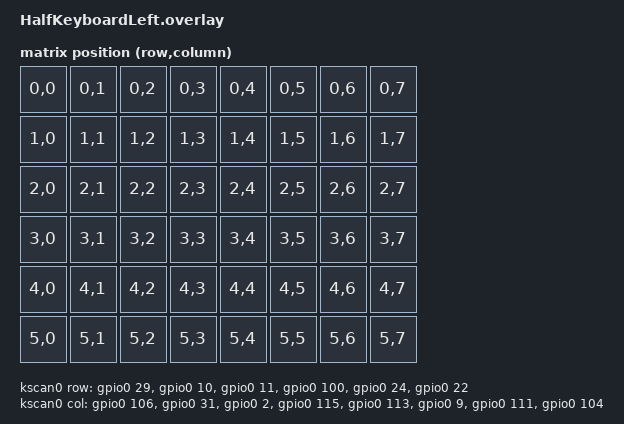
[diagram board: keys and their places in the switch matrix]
#include <dt-bindings/zmk/matrix_transform.h>
#include <physical_layouts.dtsi>

/ {
    chosen {
        zmk,physical-layout = &default_layout;
    };

    default_layout: default_layout {
        compatible = "zmk,physical-layout";
        display-name = "HalfKeyboardLeft Layout";
        transform = <&default_transform>;
        kscan = <&kscan0>;
        keys
            = <&key_physical_attrs 19 19   0   0 0 0 0>
            , <&key_physical_attrs 19 19  24   0 0 0 0>
            , <&key_physical_attrs 19 19   0  24 0 0 0>
            , <&key_physical_attrs 19 19  24  24 0 0 0>
            , <&key_physical_attrs 19 19   0  48 0 0 0>
            , <&key_physical_attrs 19 19  24  48 0 0 0>
            , <&key_physical_attrs 19 19   0  72 0 0 0>
            , <&key_physical_attrs 19 19  24  72 0 0 0>
            , <&key_physical_attrs 19 19   0  96 0 0 0>
            , <&key_physical_attrs 19 19  24  96 0 0 0>
            , <&key_physical_attrs 19 19   0 120 0 0 0>
            , <&key_physical_attrs 19 19  24 120 0 0 0>
            ;
    };

    kscan0: kscan {
        compatible = "zmk,kscan-gpio-matrix";
        diode-direction = "row2col";
        row-gpios
            = <&gpio0  29 GPIO_ACTIVE_HIGH>
            , <&gpio0  10 GPIO_ACTIVE_HIGH>
            , <&gpio0 11 GPIO_ACTIVE_HIGH>
            , <&gpio0 100 GPIO_ACTIVE_HIGH>
            , <&gpio0 24 GPIO_ACTIVE_HIGH>
            , <&gpio0 22 GPIO_ACTIVE_HIGH>
            ;
        col-gpios
            = <&gpio0  106 (GPIO_ACTIVE_HIGH | GPIO_PULL_DOWN)>            
            , <&gpio0   31 (GPIO_ACTIVE_HIGH | GPIO_PULL_DOWN)>
            , <&gpio0    2 (GPIO_ACTIVE_HIGH | GPIO_PULL_DOWN)>
            , <&gpio0  115 (GPIO_ACTIVE_HIGH | GPIO_PULL_DOWN)>
            , <&gpio0  113 (GPIO_ACTIVE_HIGH | GPIO_PULL_DOWN)>
            , <&gpio0  9 (GPIO_ACTIVE_HIGH | GPIO_PULL_DOWN)>                            
            , <&gpio0  111 (GPIO_ACTIVE_HIGH | GPIO_PULL_DOWN)>
            , <&gpio0  104 (GPIO_ACTIVE_HIGH | GPIO_PULL_DOWN)>    
            ;
    };

    default_transform: default_transform {
        compatible = "zmk,matrix-transform";
        rows = <6>;
        columns = <8>;

        map = <
            /* Row 0 */
            RC(0,0) RC(0,1) RC(0,2) RC(0,3) RC(0,4) RC(0,5) RC(0,6) RC(0,7)

            /* Row 1 */
            RC(1,0) RC(1,1) RC(1,2) RC(1,3) RC(1,4) RC(1,5) RC(1,6) RC(1,7)

            /* Row 2 */
            RC(2,0) RC(2,1) RC(2,2) RC(2,3) RC(2,4) RC(2,5) RC(2,6) RC(2,7)

            /* Row 3 */
            RC(3,0) RC(3,1) RC(3,2) RC(3,3) RC(3,4) RC(3,5) RC(3,6) RC(3,7)

            /* Row 4 */
            RC(4,0) RC(4,1) RC(4,2) RC(4,3) RC(4,4) RC(4,5) RC(4,6) RC(4,7)

            /* Row 5 */
            RC(5,0) RC(5,1) RC(5,2) RC(5,3) RC(5,4) RC(5,5) RC(5,6) RC(5,7)
        >;
    };
};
